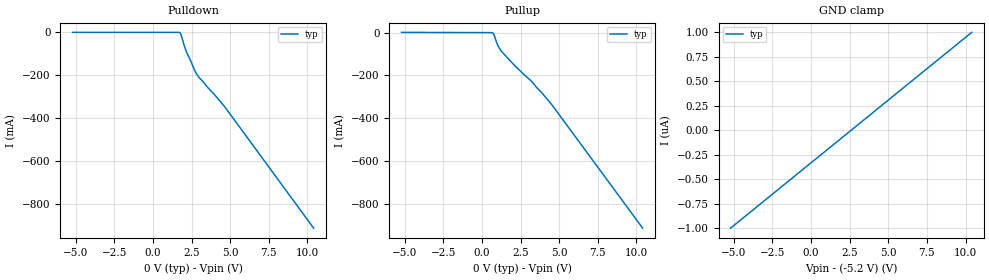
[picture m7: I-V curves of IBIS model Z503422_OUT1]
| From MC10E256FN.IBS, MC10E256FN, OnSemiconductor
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| (C) COPYRIGHT 1993-2000
| MENTOR GRAPHICS CORPORATION
| ICX STANDARD LIBRARY, ICX PROJECT MODELING,
| ICX CUSTOM MODELING, ICX VENDOR MODEL
| ALL RIGHTS RESERVED.
| THE FOLLOWING ARE TRADEMARKS OR SERVICE MARKS OF
| MENTOR GRAPHICS CORPORATION:ICX (R), ICX STANDARD
| LIBRARY(R), ICX PROJECT MODELING(R), ICX CUSTOM
| MODELING(R), qualityIBIS(TM), MODELVIEWER(TM),
| AND MODELEDITOR(TM)
| ALL COPIES OF SOFTWARE, INCLUDING BUT NOT LIMITED TO
| ANY MODIFICATIONS, ENHANCEMENTS OR DERIVATIVE WORKS,
| MUST CONTAIN ALL MENTOR GRAPHICS CORPORATION'S
| NOTICES AND LEGENDS, INCLUDING THOSE EMBEDDED IN
| SOFTWARE AND THOSE AFFIXED TO SOFTWARE MEDIUM
| AND CONTAINER, AS RECEIVED FROM MENTOR GRAPHICS
| CORPORATION.
| Model Application Version 1.89 2/18/99.
[Model] Z503422_OUT1
Model_type Output_ECL
Vref=-2.000V
Rref=50.00ohms
Cref=0.000F
Vmeas=-1.305V
C_comp 8.000pF NA NA
| variable typ   min   max
[Voltage Range] -5.200V NA NA
[POWER Clamp Reference] 0.000V NA NA
[Pullup Reference] 0.000V NA NA
[Pulldown Reference] 0.000V NA NA
[GND Clamp Reference] -5.200V NA NA
[GND Clamp]
-5.2V     -1uA       NA         NA
10.4V     1uA        NA         NA
[Pulldown]
-5.2V     57.96uA    NA         NA
1.738V    -1.714mA   NA         NA
1.831V    -12.39mA   NA         NA
2.031V    -62.36mA   NA         NA
2.163V    -89.37mA   NA         NA
2.472V    -136.9mA   NA         NA
2.69V     -175.1mA   NA         NA
2.988V    -210mA     NA         NA
4.639V    -345.3mA   NA         NA
10.4V     -911.5mA   NA         NA
[Pullup]
-5.2V     1.141mA    NA         NA
566.8mV   -14.52uA   NA         NA
725.4mV   -3.037mA   NA         NA
810.5mV   -15.25mA   NA         NA
937.5mV   -43.62mA   NA         NA
1.036V    -60.69mA   NA         NA
1.323V    -91.99mA   NA         NA
2.168V    -157.5mA   NA         NA
3.213V    -227.1mA   NA         NA
4.565V    -340.5mA   NA         NA
10.4V     -912.4mA   NA         NA
[POWER Clamp]
-5.2V     0A         NA         NA
10.4V     0A         NA         NA
[Ramp]
| variable typ min max
dV/dt_r 593.8m/334.2p NA NA
dV/dt_f 593.8m/330.6p NA NA
R_load = 500.0Ohms
